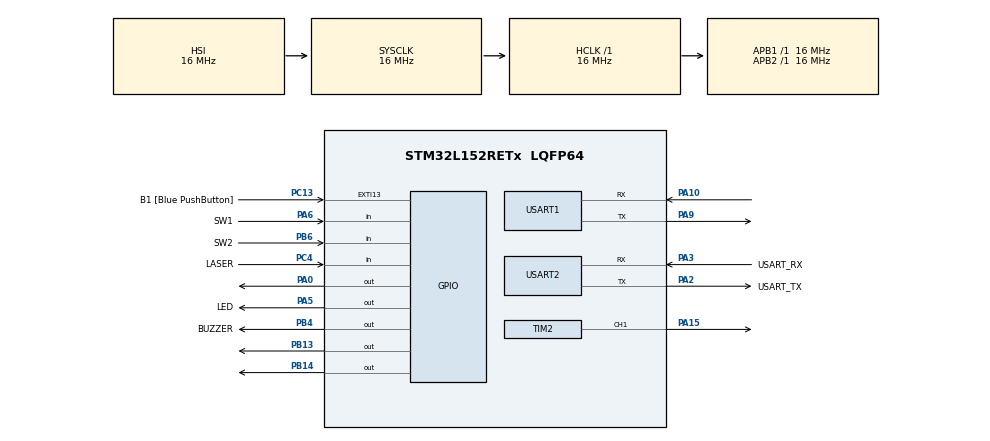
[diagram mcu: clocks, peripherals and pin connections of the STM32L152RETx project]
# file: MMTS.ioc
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Mcu.Family=STM32L1
Mcu.Name=STM32L152RETx
Mcu.Package=LQFP64
NVIC.PriorityGroup=NVIC_PRIORITYGROUP_0
NVIC.TIM6_IRQn=true\:0\:0\:false\:false\:true\:true\:true\:true
NVIC.USART1_IRQn=true\:0\:0\:false\:false\:true\:true\:true\:true
PA0-WKUP1.Signal=GPIO_Output
PA10.Mode=Asynchronous
PA10.Signal=USART1_RX
PA13.GPIO_Label=TMS
PA13.Mode=Serial_Wire
PA13.Signal=SYS_JTMS-SWDIO
PA14.GPIO_Label=TCK
PA14.Mode=Serial_Wire
PA14.Signal=SYS_JTCK-SWCLK
PA15.Signal=S_TIM2_CH1_ETR
PA2.GPIO_Label=USART_TX
PA2.Mode=Asynchronous
PA2.Signal=USART2_TX
PA3.GPIO_Label=USART_RX
PA3.Mode=Asynchronous
PA3.Signal=USART2_RX
PA5.GPIO_Label=LED
PA5.Signal=GPIO_Output
PA6.GPIO_Label=SW1
PA6.GPIO_PuPd=GPIO_PULLDOWN
PA6.Signal=GPIO_Input
PA9.Mode=Asynchronous
PA9.Signal=USART1_TX
PB13.Signal=GPIO_Output
PB14.Signal=GPIO_Output
PB3.GPIO_Label=SWO
PB3.Signal=SYS_JTDO-TRACESWO
PB4.GPIO_Label=BUZZER
PB4.Signal=GPIO_Output
PB6.GPIO_Label=SW2
PB6.GPIO_PuPd=GPIO_PULLDOWN
PB6.Signal=GPIO_Input
PC13-WKUP2.GPIO_Label=B1 [Blue PushButton]
PC13-WKUP2.Signal=GPXTI13
PC14-OSC32_IN.Mode=LSE-External-Oscillator
PC14-OSC32_IN.Signal=RCC_OSC32_IN
PC15-OSC32_OUT.Mode=LSE-External-Oscillator
PC15-OSC32_OUT.Signal=RCC_OSC32_OUT
PC4.GPIO_Label=LASER
PC4.Signal=GPIO_Input
PH0-OSC_IN.Mode=HSE-External-Clock-Source
PH0-OSC_IN.Signal=RCC_OSC_IN
PH1-OSC_OUT.Signal=RCC_OSC_OUT
ProjectManager.HeapSize=0x200
ProjectManager.StackSize=0x400
ProjectManager.TargetToolchain=STM32CubeIDE
RCC.48MHZClocksFreq_Value=48000000
RCC.AHBFreq_Value=16000000
RCC.APB1Freq_Value=16000000
RCC.APB1TimFreq_Value=16000000
RCC.APB2Freq_Value=16000000
RCC.APB2TimFreq_Value=16000000
RCC.HCLKFreq_Value=16000000
RCC.HSE_VALUE=8000000
RCC.HSI_VALUE=16000000
RCC.MSI_VALUE=2097000
RCC.PLLDIV=RCC_PLL_DIV3
RCC.PLLMUL=RCC_PLL_MUL6
RCC.RTCClockSelectionVirtual=RCC_RTCCLKSOURCE_LSE
RCC.SYSCLKFreq_VALUE=16000000
RCC.SYSCLKSource=RCC_SYSCLKSOURCE_HSI
RCC.USBOutput=48000000
RCC.VCOOutputFreq_Value=96000000
SH.S_TIM2_CH1_ETR.0=TIM2_CH1,PWM Generation1 CH1
TIM2.Channel-PWM\ Generation1\ CH1=TIM_CHANNEL_1
TIM2.Period=100-1
TIM2.Prescaler=16-1
TIM6.Period=1000
TIM6.Prescaler=15999
USART1.VirtualMode=VM_ASYNC
USART2.VirtualMode=VM_ASYNC
VP_TIM2_VS_ClockSourceINT.Mode=Internal
VP_TIM6_VS_ClockSourceINT.Mode=Enable_Timer
board=NUCLEO-L152RE

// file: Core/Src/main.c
/* USER CODE BEGIN Header */
/**
  ******************************************************************************
  * @file           : main.c
  * @brief          : Main program body
  ******************************************************************************
  * @attention
  *
  * Copyright (c) 2023 STMicroelectronics.
  * All rights reserved.
  *
  * This software is licensed under terms that can be found in the LICENSE file
  * in the root directory of this software component.
  * If no LICENSE file comes with this software, it is provided AS-IS.
  *
  ******************************************************************************
  */
/* USER CODE END Header */
#include "main.h"

/* USER CODE BEGIN Includes */
#include "UartRingbuffer.h"
#include <stdio.h>
#include <string.h>
#include <stdlib.h>

/* USER CODE END Includes */

/* USER CODE BEGIN PM */
#define MODE 2
/* USER CODE END PM */

TIM_HandleTypeDef htim2;
TIM_HandleTypeDef htim6;

UART_HandleTypeDef huart1;
UART_HandleTypeDef huart2;

/* USER CODE BEGIN PV */
char User_Name[30];
char Mode_of_Rotation[30];
char Time_Duration[30];
int Time_from_Iot;
char data;
char buff1[90];
char buff2[90];
char clockwise[20];
char time_buff[20];
uint8_t count_sec = 0;
uint8_t flag=0;
uint8_t time=0;
uint8_t stop=0;
uint8_t tim_val = 0;
uint8_t time_flag=0;
uint8_t sw1_flag=0;
uint8_t sw2_flag=0;
uint8_t time_end_flag=0;
uint8_t iot_flag=0;
uint8_t event_flag=0;
uint8_t mode=0;
/* USER CODE END PV */

void SystemClock_Config(void);
static void MX_GPIO_Init(void);
static void MX_USART2_UART_Init(void);
static void MX_TIM6_Init(void);
static void MX_USART1_UART_Init(void);
static void MX_TIM2_Init(void);
/* USER CODE BEGIN PFP */
int data_from_iot(void);
void motor_drive_clockwise(void);
void motor_drive_anticlockwise(void);
int iot_data_validation(char data[]);
void switch1_release(void);
void laser_detect(void);
void timer_start(void);
void Buzzer(void);
void motor_drive_stop(void);
void motor_diagnostic(void);
int led_diagnostic(void);
void laser_diagnostic(void);
/* USER CODE END PFP */

/* USER CODE BEGIN 0 */
int data_from_iot(void)
{
	/*
	 * checking for IoT data,checking for name,mode,dutation of time;
	 */

	uint8_t count=0;
	uint8_t quote_double=0;
	uint8_t name_increment=0;
	uint8_t mode_increment=0;
        uint8_t time_increment=0;

	if (IsDataAvailable())
	{
                if(Wait_for("{")==1)
                {
        	       Copy_upto("}", buff1);
//        	       HAL_UART_Transmit(&huart2, buff1, strlen(buff1),100);
                }

		while (1)
		{
		      if (buff1[count] == '"')
		      {
			    ++quote_double;
		      }

		     if (quote_double == 3)
		     {
			   if (buff1[count + 1] != '"')
			   {
				User_Name[name_increment] = buff1[count + 1];
				name_increment++;
			   }
			   else
			   {
				   if (buff1[count + 2] == '}')
					  {
					   quote_double=0;
					   sprintf(buff2, "Name:%s\r\n", User_Name);
//					   HAL_UART_Transmit(&huart2, buff2, strlen(buff2), 100);
						  mode=2;
						  break;
					  }
			   }
		    }

		    if (quote_double == 7)
		    {
			   if (buff1[count + 1] != '"')
			   {
				Mode_of_Rotation[mode_increment] = buff1[count + 1];
				mode_increment++;
			   }
		   }

		   if (quote_double == 11)
		   {
			  if (buff1[count + 1] != '"')
			  {
				Time_Duration[time_increment] = buff1[count + 1];
				time_increment++;
			  }
			  else
			  {

			  }
		   }
		   if (quote_double == 14)
		   		   {
			   quote_double=0;
			   	   	   	   	   	   mode=1;
			  					  break;
		   		   }

		  ++count;
          }

	}
	if (mode == 1) {
				Time_from_Iot = atoi(Time_Duration);
				sprintf(buff2, "Time:%d\r\n", Time_from_Iot);
//				HAL_UART_Transmit(&huart2, buff2, strlen(buff2), 100);
				if (strcmp(Mode_of_Rotation, "Slice") == 0 && Time_from_Iot) {
					memset(Mode_of_Rotation, 0, sizeof(Mode_of_Rotation));
					sprintf(buff2, "Duration:%d\r\n", Time_from_Iot);
//					HAL_UART_Transmit(&huart2, buff2, strlen(buff2), 100);
					Uart_flush();
					iot_flag = 1;
					return 1;
				} else {
//					HAL_UART_Transmit(&huart2, "exit\r\n", strlen("exit\r\n"), 100);
					return 0;
				}
			}
	if(mode==2)
	{

		if(strcmp(User_Name,"MT") ==0)
			{
				//call motor function
				motor_diagnostic();
				Uart_write(2);
				return 0;
			}
		 if(strcmp(User_Name,"LT") ==0)
			{
				//call led function
				led_diagnostic();
				Uart_write(3);

			}
		 if(strcmp(User_Name,"LS") ==0)
			{
				//call laser function
				laser_diagnostic();
				return 0;
			}
			else
			{
				return 0;
			}
	}
	return 0;
}

void motor_drive_clockwise(void)
{
	/*
	 * start motor clockwise to reach Default position
	 * Motor Input 1 - SET
	 * Motor Input 2 - RESET
	 */

//	HAL_UART_Transmit(&huart2, "clockwise enter\r\n", strlen("clockwise enter\r\n"),100);
	TIM2->CCR1 = 25;
	HAL_GPIO_WritePin(GPIOB, GPIO_PIN_14, SET); //Motor ON
	HAL_GPIO_WritePin(GPIOB, GPIO_PIN_13, RESET); //Direction of Pin(CLOCK WISE)
}

void motor_drive_anticlockwise(void)
{
	/*
	 * start motor anti - clockwise to reach 90 degree position
	 * Motor Input 1- RESET
	 * Motor Input 2- SET
	 */

//	HAL_UART_Transmit(&huart2, "anti clockwise motor enter\r\n", strlen("anti clockwise motor enter\r\n"),100);
	TIM2->CCR1 = 25;
	HAL_GPIO_WritePin(GPIOB, GPIO_PIN_14, SET); //Motor ON
	HAL_GPIO_WritePin(GPIOB, GPIO_PIN_13, SET); //Direction of Pin(COUNTER CLOCK WISE)
}

void motor_drive_stop(void)
{
	 /*
	 * turn off the motor
	 * Motor Input 1- Reset
	 * Motor Input 2- Reset
	 */
//	HAL_UART_Transmit(&huart2, "motor stop\r\n", strlen("motor stop\r\n"), 100);
	HAL_GPIO_WritePin(GPIOB, GPIO_PIN_14, RESET); //Motor OFF
}

void timer_start(void)
{
	  /*
	  *  start timer for 10 seconds and buzzer on
	  */

//	HAL_UART_Transmit(&huart2, "time enter\r\n", strlen("time enter\r\n"), 100);
	Buzzer();
	HAL_TIM_Base_Start_IT(&htim6);
	time_flag = 1; // Set Timer flag to indicate the timer on call laser detect function in superloop
}

void Buzzer(void)
{
	 /*
	 *  buzzer to indicate timer as started
	 */
	HAL_GPIO_WritePin(GPIOB, BUZZER_Pin, 1);
	HAL_Delay(500);
	HAL_GPIO_WritePin(GPIOB, BUZZER_Pin, 0);

}
void motor_diagnostic(void)
{
	TIM2->CCR1 = 25;
	HAL_GPIO_WritePin(GPIOB, GPIO_PIN_13, RESET); //Direction of Pin(CLOCK WISE)
	HAL_GPIO_WritePin(GPIOB, GPIO_PIN_14, SET); //Motor ON

	//HAL_Delay(1000);
  while(1)
  {

	if (HAL_GPIO_ReadPin(SW2_GPIO_Port, SW2_Pin) == 0)
	{
		HAL_GPIO_WritePin(GPIOB, GPIO_PIN_14, RESET); //Motor OFF
		HAL_Delay(1000);
	TIM2->CCR1 = 25;
	HAL_GPIO_WritePin(GPIOB, GPIO_PIN_13, SET); //Direction of Pin(COUNTER CLOCK WISE)
	HAL_GPIO_WritePin(GPIOB, GPIO_PIN_14, SET); //Motor ON
	HAL_Delay(1000);

	}
	if(HAL_GPIO_ReadPin(SW1_GPIO_Port, SW1_Pin) == 0)
	{
		HAL_GPIO_WritePin(GPIOB, GPIO_PIN_14, RESET); //Motor OFF
		mode=0;
			iot_flag = 0;
			Uart_flush();
		break;
	}

  }

}
int led_diagnostic(void)
{
//	HAL_UART_Transmit(&huart2, "LED\r\n",strlen("LED\r\n"),1000);
	for(int led=0;led<5;led++)
	{
		HAL_GPIO_TogglePin(GPIOA, LED_Pin);
		HAL_Delay(300);
	}
	memset(User_Name,0,sizeof(User_Name));
	mode=0;
	iot_flag = 0;
	Uart_flush();
	return 0;
}
void laser_diagnostic(void)
{
	volatile long int delay=0;
	int count_d=0;
	int shoot_flag=0;
//	HAL_UART_Transmit(&huart2, "Shoot\r\n",strlen("Shoot\r\n"),1000);
	while(1)
	{
		delay++;
		if(delay==100000)
		{
			delay=0;
			count_d++;

			if(count_d>10)
				break;
		}

		if (HAL_GPIO_ReadPin(GPIOC, LASER_Pin) == 1)
		{
//			HAL_UART_Transmit(&huart2, "Shoot succ\r\n",strlen("Shoot succ\r\n"),1000);
			Buzzer();
			shoot_flag=1;
			Uart_write(4);
			Uart_flush();
			break;
		}

	}
	if(shoot_flag==1)
	{
		//HAL_UART_Transmit(&huart2, "Shoot Done\r\n",strlen("Shoot Done\r\n"),1000);
	}

	else
			{
			Buzzer();
			HAL_Delay(300);
			Buzzer();
			HAL_Delay(300);
			Buzzer();
			HAL_Delay(300);
			}

	mode=0;
    iot_flag = 0;
    Uart_flush();

}
void laser_detect(void)
{
	 /*
	 * as timer started meanwhile start detecting the laser gun is short r not,
	 * if laser gun is short then move motor to default position (clock-wise direction),
	 * stop the timer.
	 *
	 */
	if (HAL_GPIO_ReadPin(GPIOC, LASER_Pin) == 1)
	{
		HAL_TIM_Base_Stop_IT(&htim6);
		time_flag = 0; // Reset timer flag for another time will execute this function
//		HAL_UART_Transmit(&huart2, "laser enter\r\n", strlen("laser enter\r\n"),100);
		Buzzer();
		Uart_write(1);
		memset(Time_Duration,0,sizeof(Time_Duration));
		HAL_Delay(5000);
		motor_drive_anticlockwise();

         sw1_flag=1;// Increment sw flag to turn on switch sw2
		count_sec=0;

	}

}

/* USER CODE END 0 */

int main(void)
{

  /* MCU Configuration--------------------------------------------------------*/

  /* Reset of all peripherals, Initializes the Flash interface and the Systick. */
  HAL_Init();

  /* Configure the system clock */
  SystemClock_Config();

  /* Initialize all configured peripherals */
  MX_GPIO_Init();
  MX_USART2_UART_Init();
  MX_TIM6_Init();
  MX_USART1_UART_Init();
  MX_TIM2_Init();
  /* USER CODE BEGIN 2 */
  Ringbuf_init ();
  HAL_TIM_Base_Start(&htim2);
  HAL_TIM_PWM_Start(&htim2, TIM_CHANNEL_1);
  //HAL_UART_Transmit(&huart2, "welcome\r\n",strlen("welcome\r\n"), 100);

  /* USER CODE END 2 */

  /* Infinite loop */
  /* USER CODE BEGIN WHILE */
  while (1)
  {
	if (iot_flag == 0)
	{
		//  if IoT flag is clear then entering to Data_from_iot
		data_from_iot();    // Data_from_IoT function return 1 then set the I0T flag

	}
	if (iot_flag)
	{
		//if IoT flag is set enter into the  function
		 /*
		 * initially switch-1 flag is zero,
		 * then motor start running from default position to 90 degree position (anti-clock wise direction).
		 */
		if ( event_flag == 0)
		{
			event_flag++;
			//HAL_UART_Transmit(&huart2, "clockwise motor start\r\n",strlen("clockwise motor start\r\n"), 100);
			motor_drive_clockwise();
		}

	         /*
		* once motor touch switch-2 then motor stop, timer starts for 10 seconds,
		* and motor also stay in 90 degree position
		*/
		if (HAL_GPIO_ReadPin(SW2_GPIO_Port, SW2_Pin) == 0 && event_flag == 1)
		{
           event_flag++;
			//HAL_UART_Transmit(&huart2, "motor stop\r\n",strlen("motor stop\r\n"), 100);
			motor_drive_stop();
			HAL_Delay(1000);
			timer_start();
		}
	     /*if laser is not short until after 10 seconds,
	     * then motor start running from 90 degree position to default position(clockwise direction)
	     */
		 /*
		 * Once motor touch the switch-1 again(default position) stop the motor
		 */
	   if (HAL_GPIO_ReadPin(SW1_GPIO_Port, SW1_Pin) == 0 && event_flag == 2)
            {
		time_end_flag=0;
		//HAL_UART_Transmit(&huart2, "Home position\r\n",strlen("Home position\r\n"), 100);
		motor_drive_stop();
		iot_flag = 0;
		mode=0;
		event_flag=0;
	   }
	 /*
	 *  once the timer flag is set call the laser_detect function
	 *  if timer flag is clear then stop transmitting the RF signal
	 */
	if (time_flag == 1)
	{
		laser_detect();
	}
	/*
	 * Timer flag is reset in timer interrupt to disable the Rf tx pin
	 */

	if(time_end_flag)
	{
		Uart_flush();
		motor_drive_anticlockwise();
	}

}
    /* USER CODE END WHILE */

  }
}

void SystemClock_Config(void)
{
  RCC_OscInitTypeDef RCC_OscInitStruct = {0};
  RCC_ClkInitTypeDef RCC_ClkInitStruct = {0};

  /** Configure the main internal regulator output voltage
  */
  __HAL_PWR_VOLTAGESCALING_CONFIG(PWR_REGULATOR_VOLTAGE_SCALE1);

  /** Initializes the RCC Oscillators according to the specified parameters
  * in the RCC_OscInitTypeDef structure.
  */
  RCC_OscInitStruct.OscillatorType = RCC_OSCILLATORTYPE_HSI;
  RCC_OscInitStruct.HSIState = RCC_HSI_ON;
  RCC_OscInitStruct.HSICalibrationValue = RCC_HSICALIBRATION_DEFAULT;
  RCC_OscInitStruct.PLL.PLLState = RCC_PLL_NONE;
  if (HAL_RCC_OscConfig(&RCC_OscInitStruct) != HAL_OK)
  {
    Error_Handler();
  }

  /** Initializes the CPU, AHB and APB buses clocks
  */
  RCC_ClkInitStruct.ClockType = RCC_CLOCKTYPE_HCLK|RCC_CLOCKTYPE_SYSCLK
                              |RCC_CLOCKTYPE_PCLK1|RCC_CLOCKTYPE_PCLK2;
  RCC_ClkInitStruct.SYSCLKSource = RCC_SYSCLKSOURCE_HSI;
  RCC_ClkInitStruct.AHBCLKDivider = RCC_SYSCLK_DIV1;
  RCC_ClkInitStruct.APB1CLKDivider = RCC_HCLK_DIV1;
  RCC_ClkInitStruct.APB2CLKDivider = RCC_HCLK_DIV1;

  if (HAL_RCC_ClockConfig(&RCC_ClkInitStruct, FLASH_LATENCY_0) != HAL_OK)
  {
    Error_Handler();
  }
}

static void MX_TIM2_Init(void)
{

  TIM_ClockConfigTypeDef sClockSourceConfig = {0};
  TIM_MasterConfigTypeDef sMasterConfig = {0};
  TIM_OC_InitTypeDef sConfigOC = {0};

  htim2.Instance = TIM2;
  htim2.Init.Prescaler = 16-1;
  htim2.Init.CounterMode = TIM_COUNTERMODE_UP;
  htim2.Init.Period = 100-1;
  htim2.Init.ClockDivision = TIM_CLOCKDIVISION_DIV1;
  htim2.Init.AutoReloadPreload = TIM_AUTORELOAD_PRELOAD_DISABLE;
  if (HAL_TIM_Base_Init(&htim2) != HAL_OK)
  {
    Error_Handler();
  }
  sClockSourceConfig.ClockSource = TIM_CLOCKSOURCE_INTERNAL;
  if (HAL_TIM_ConfigClockSource(&htim2, &sClockSourceConfig) != HAL_OK)
  {
    Error_Handler();
  }
  if (HAL_TIM_PWM_Init(&htim2) != HAL_OK)
  {
    Error_Handler();
  }
  sMasterConfig.MasterOutputTrigger = TIM_TRGO_RESET;
  sMasterConfig.MasterSlaveMode = TIM_MASTERSLAVEMODE_DISABLE;
  if (HAL_TIMEx_MasterConfigSynchronization(&htim2, &sMasterConfig) != HAL_OK)
  {
    Error_Handler();
  }
  sConfigOC.OCMode = TIM_OCMODE_PWM1;
  sConfigOC.Pulse = 0;
  sConfigOC.OCPolarity = TIM_OCPOLARITY_HIGH;
  sConfigOC.OCFastMode = TIM_OCFAST_DISABLE;
  if (HAL_TIM_PWM_ConfigChannel(&htim2, &sConfigOC, TIM_CHANNEL_1) != HAL_OK)
  {
    Error_Handler();
  }
  HAL_TIM_MspPostInit(&htim2);

}

static void MX_TIM6_Init(void)
{

  TIM_MasterConfigTypeDef sMasterConfig = {0};

  htim6.Instance = TIM6;
  htim6.Init.Prescaler = 15999;
  htim6.Init.CounterMode = TIM_COUNTERMODE_UP;
  htim6.Init.Period = 1000;
  htim6.Init.AutoReloadPreload = TIM_AUTORELOAD_PRELOAD_DISABLE;
  if (HAL_TIM_Base_Init(&htim6) != HAL_OK)
  {
    Error_Handler();
  }
  sMasterConfig.MasterOutputTrigger = TIM_TRGO_RESET;
  sMasterConfig.MasterSlaveMode = TIM_MASTERSLAVEMODE_DISABLE;
  if (HAL_TIMEx_MasterConfigSynchronization(&htim6, &sMasterConfig) != HAL_OK)
  {
    Error_Handler();
  }

}

static void MX_USART1_UART_Init(void)
{

  huart1.Instance = USART1;
  huart1.Init.BaudRate = 115200;
  huart1.Init.WordLength = UART_WORDLENGTH_8B;
  huart1.Init.StopBits = UART_STOPBITS_1;
  huart1.Init.Parity = UART_PARITY_NONE;
  huart1.Init.Mode = UART_MODE_TX_RX;
  huart1.Init.HwFlowCtl = UART_HWCONTROL_NONE;
  huart1.Init.OverSampling = UART_OVERSAMPLING_16;
  if (HAL_UART_Init(&huart1) != HAL_OK)
  {
    Error_Handler();
  }

}

static void MX_USART2_UART_Init(void)
{

  huart2.Instance = USART2;
  huart2.Init.BaudRate = 115200;
  huart2.Init.WordLength = UART_WORDLENGTH_8B;
  huart2.Init.StopBits = UART_STOPBITS_1;
  huart2.Init.Parity = UART_PARITY_NONE;
  huart2.Init.Mode = UART_MODE_TX_RX;
  huart2.Init.HwFlowCtl = UART_HWCONTROL_NONE;
  huart2.Init.OverSampling = UART_OVERSAMPLING_16;
  if (HAL_UART_Init(&huart2) != HAL_OK)
  {
    Error_Handler();
  }

}

static void MX_GPIO_Init(void)
{
  GPIO_InitTypeDef GPIO_InitStruct = {0};

  /* GPIO Ports Clock Enable */
  __HAL_RCC_GPIOC_CLK_ENABLE();
  __HAL_RCC_GPIOH_CLK_ENABLE();
  __HAL_RCC_GPIOA_CLK_ENABLE();
  __HAL_RCC_GPIOB_CLK_ENABLE();

  /*Configure GPIO pin Output Level */
  HAL_GPIO_WritePin(GPIOA, GPIO_PIN_0|LED_Pin, GPIO_PIN_RESET);

  /*Configure GPIO pin Output Level */
  HAL_GPIO_WritePin(GPIOB, GPIO_PIN_13|GPIO_PIN_14|BUZZER_Pin, GPIO_PIN_RESET);

  /*Configure GPIO pin : B1_Pin */
  GPIO_InitStruct.Pin = B1_Pin;
  GPIO_InitStruct.Mode = GPIO_MODE_IT_RISING;
  GPIO_InitStruct.Pull = GPIO_NOPULL;
  HAL_GPIO_Init(B1_GPIO_Port, &GPIO_InitStruct);

  /*Configure GPIO pins : PA0 LED_Pin */
  GPIO_InitStruct.Pin = GPIO_PIN_0|LED_Pin;
  GPIO_InitStruct.Mode = GPIO_MODE_OUTPUT_PP;
  GPIO_InitStruct.Pull = GPIO_NOPULL;
  GPIO_InitStruct.Speed = GPIO_SPEED_FREQ_LOW;
  HAL_GPIO_Init(GPIOA, &GPIO_InitStruct);

  /*Configure GPIO pin : SW1_Pin */
  GPIO_InitStruct.Pin = SW1_Pin;
  GPIO_InitStruct.Mode = GPIO_MODE_INPUT;
  GPIO_InitStruct.Pull = GPIO_PULLUP;
  HAL_GPIO_Init(SW1_GPIO_Port, &GPIO_InitStruct);

  /*Configure GPIO pin : LASER_Pin */
  GPIO_InitStruct.Pin = LASER_Pin;
  GPIO_InitStruct.Mode = GPIO_MODE_INPUT;
  GPIO_InitStruct.Pull = GPIO_NOPULL;
  HAL_GPIO_Init(LASER_GPIO_Port, &GPIO_InitStruct);

  /*Configure GPIO pins : PB13 PB14 BUZZER_Pin */
  GPIO_InitStruct.Pin = GPIO_PIN_13|GPIO_PIN_14|BUZZER_Pin;
  GPIO_InitStruct.Mode = GPIO_MODE_OUTPUT_PP;
  GPIO_InitStruct.Pull = GPIO_NOPULL;
  GPIO_InitStruct.Speed = GPIO_SPEED_FREQ_LOW;
  HAL_GPIO_Init(GPIOB, &GPIO_InitStruct);

  /*Configure GPIO pin : SW2_Pin */
  GPIO_InitStruct.Pin = SW2_Pin;
  GPIO_InitStruct.Mode = GPIO_MODE_INPUT;
  GPIO_InitStruct.Pull = GPIO_PULLUP;
  HAL_GPIO_Init(SW2_GPIO_Port, &GPIO_InitStruct);

}

/* USER CODE BEGIN 4 */

// if timer is elapsed and laser is not short, then send the msg to IOT and RIS ECU
void HAL_TIM_PeriodElapsedCallback(TIM_HandleTypeDef* htim)
{
	count_sec++;
	//HAL_UART_Transmit(&huart2, "done\r\n", strlen("done\r\n"), 100);

	if(count_sec==Time_from_Iot)
	{
		Uart_write(0);
		memset(Time_Duration,0,sizeof(Time_Duration));
		Uart_flush();
		HAL_TIM_Base_Stop_IT(&htim6);
		time_end_flag=1;
		event_flag=2;
		//HAL_UART_Transmit(&huart2, "Time over\r\n",strlen("Time over\r\n"), 100);
		time_flag=0;
		count_sec=0;
	}
}
/* USER CODE END 4 */

void Error_Handler(void)
{
  __disable_irq();
  while (1)
  {
  }
}
